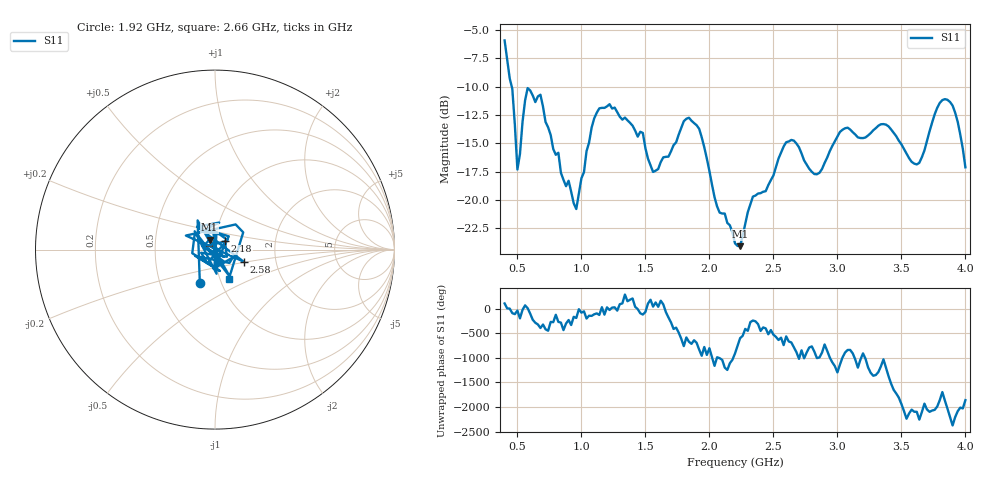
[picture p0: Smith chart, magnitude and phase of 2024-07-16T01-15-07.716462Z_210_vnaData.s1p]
!Created with skrf (http://scikit-rf.org).
# Hz S RI R 50.0
!freq ReS11 ImS11
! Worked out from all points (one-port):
!   181 points, 400 MHz to 4 GHz, reference 50 ohm
!   lowest |S11| = -24.1 dB at 2.24 GHz (marker M1), VSWR 1.13, Z = 46.8 + j5.16 ohm
!   |S11| at or under -10 dB: 456.2 MHz to end of sweep
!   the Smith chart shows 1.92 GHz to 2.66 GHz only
!   S11 on the Smith chart (normalised r, x): 1.92 GHz: 0.79, -0.31; 2.18 GHz: 1.11, +0.10; 2.58 GHz: 1.36, -0.19; 2.66 GHz: 1.10, -0.38
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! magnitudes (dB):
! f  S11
! 400 MHz  -5.9
! 460 MHz  -10.2
! 500 MHz  -17.3
! 580 MHz  -10.1
! 680 MHz  -10.7
! 860 MHz  -18.2
! 960 MHz  -20.8
! 1.12 GHz  -12.3
! 1.3 GHz  -12.6
! 1.48 GHz  -14.1
! 1.56 GHz  -17.5
! 1.76 GHz  -14.2
! 1.92 GHz  -13.7
! 2.06 GHz  -20.6
! 2.18 GHz  -22.9
! 2.2 GHz  -23.8
! 2.24 GHz  -24.1
! 2.34 GHz  -19.7
! 2.58 GHz  -15.3
! 2.66 GHz  -14.8
! 2.84 GHz  -17.7
! 3.1 GHz  -13.8
! 3.38 GHz  -13.3
! 3.56 GHz  -16.3
! 3.64 GHz  -16.7
! 3.84 GHz  -11.1
! 3.92 GHz  -12.3
! 4 GHz  -17.1
